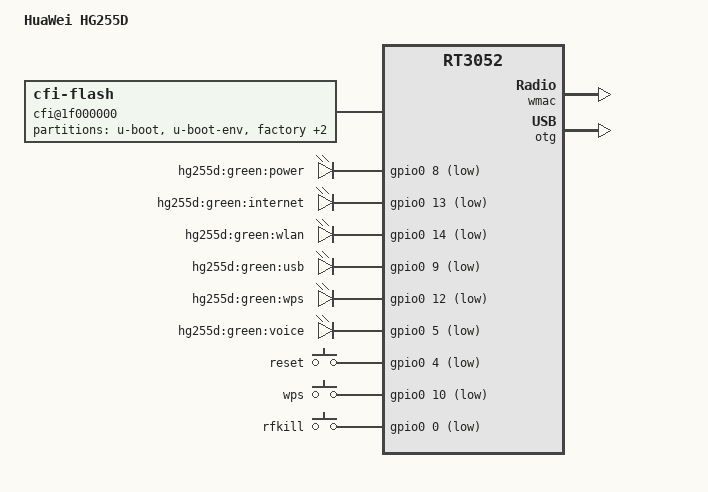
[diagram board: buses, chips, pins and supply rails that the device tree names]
/dts-v1/;

#include "rt3050.dtsi"

#include <dt-bindings/gpio/gpio.h>
#include <dt-bindings/input/input.h>

/ {
	compatible = "huawei,hg255d", "ralink,rt3052-soc";
	model = "HuaWei HG255D";

	cfi@1f000000 {
		compatible = "cfi-flash";
		reg = <0x1f000000 0x1000000>;
		bank-width = <2>;
		device-width = <2>;
		#address-cells = <1>;
		#size-cells = <1>;

		partition@0 {
			label = "u-boot";
			reg = <0x0 0x40000>;
			read-only;
		};

		partition@30000 {
			label = "u-boot-env";
			reg = <0x40000 0x20000>;
			read-only;
		};

		factory: partition@60000 {
			label = "factory";
			reg = <0x60000 0x20000>;
			read-only;
		};

		partition@80000 {
			label = "firmware";
			reg = <0x80000 0xf60000>;
		};

		partition@fa0000 {
			label = "factory-orig";
			reg = <0xfa0000 0x20000>;
			read-only;
		};
	};

	gpio-leds {
		compatible = "gpio-leds";

		power {
			label = "hg255d:green:power";
			gpios = <&gpio0 8 GPIO_ACTIVE_LOW>;
		};

		internet {
			label = "hg255d:green:internet";
			gpios = <&gpio0 13 GPIO_ACTIVE_LOW>;
		};

		wifi {
			label = "hg255d:green:wlan";
			gpios = <&gpio0 14 GPIO_ACTIVE_LOW>;
		};

		usb {
			label = "hg255d:green:usb";
			gpios = <&gpio0 9 GPIO_ACTIVE_LOW>;
		};

		wps {
			label = "hg255d:green:wps";
			gpios = <&gpio0 12 GPIO_ACTIVE_LOW>;
		};

		voice {
			label = "hg255d:green:voice";
			gpios = <&gpio0 5 GPIO_ACTIVE_LOW>;
		};
	};

	gpio-keys-polled {
		compatible = "gpio-keys-polled";
		#address-cells = <1>;
		#size-cells = <0>;
		poll-interval = <10>;

		reset {
			label = "reset";
			gpios = <&gpio0 4 GPIO_ACTIVE_LOW>;
			linux,code = <KEY_RESTART>;
		};

		wps {
			label = "wps";
			gpios = <&gpio0 10 GPIO_ACTIVE_LOW>;
			linux,code = <KEY_WPS_BUTTON>;
		};

		rfkill {
			label = "rfkill";
			gpios = <&gpio0 0 GPIO_ACTIVE_LOW>;
			linux,code = <KEY_RFKILL>;
		};
	};
};

&pinctrl {
	state_default: pinctrl0 {
		gpio {
			ralink,group = "spi", "i2c", "jtag", "rgmii", "mdio", "uartf";
			ralink,function = "gpio";
		};
	};
};

&ethernet {
	mtd-mac-address = <&factory 0x28>;
};

&esw {
	mediatek,portmap = <0x2f>;
};

&wmac {
	ralink,mtd-eeprom = <&factory 0>;
};

&otg {
	status = "okay";
};
